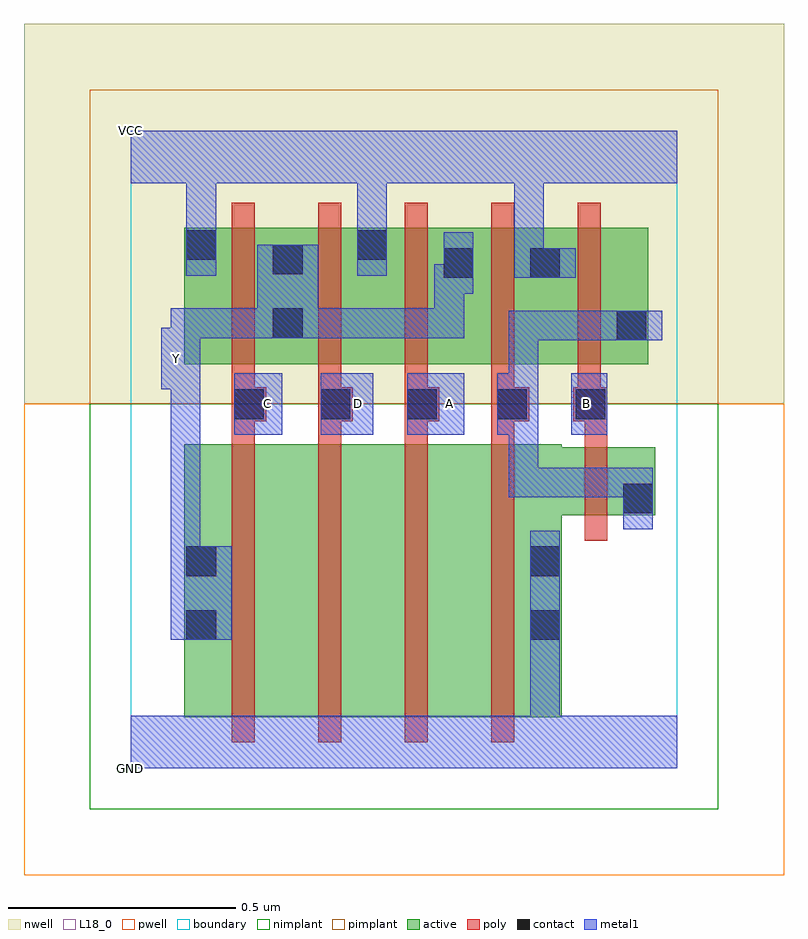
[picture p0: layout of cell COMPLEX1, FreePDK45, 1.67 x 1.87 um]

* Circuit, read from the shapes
.subckt COMPLEX1 A B C D GND VCC Y
M1 n1 C Y VSUBS nfet w=0.6u l=0.05u
M2 n2 D n1 VSUBS nfet w=0.6u l=0.05u
M3 n3 A n2 VSUBS nfet w=0.6u l=0.05u
M4 GND n4 n3 VSUBS nfet w=0.6u l=0.05u
M5 n4 B GND VSUBS nfet w=0.15u l=0.05u
M6 Y C VCC n5 pfet w=0.3u l=0.05u
M7 VCC D Y n5 pfet w=0.3u l=0.05u
M8 Y A VCC n5 pfet w=0.3u l=0.05u
M9 VCC n4 Y n5 pfet w=0.3u l=0.05u
M10 n4 B VCC n5 pfet w=0.3u l=0.05u
.ends

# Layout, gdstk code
import gdstk
lib = gdstk.Library(unit=1e-6, precision=1e-09)
def R(c, l, rs):  # rectangles x0, y0, x1, y1
    for r in rs: c.add(gdstk.rectangle(r[:2], r[2:], *l))
def A(c, l, x, y, w, h, nx, ny, dx, dy):  # array of equal rectangles
    R(c, l, [(x+i*dx, y+j*dy, x+i*dx+w, y+j*dy+h) for i in range(nx) for j in range(ny)])
active = (1, 0)
pwell = (2, 0)
nwell = (3, 0)
nimplant = (4, 0)
pimplant = (5, 0)
poly = (9, 0)
contact = (10, 0)
metal1 = (11, 0)
L18_0 = (18, 0)
boundary = (235, 0)

complex1 = lib.new_cell('COMPLEX1')
A(complex1, active, 0.492, 0.887, 0.265, 0.3, 3, 1, 0.19, 0)
R(complex1, active, [(0.117,0.112,0.342,0.712), (0.342,0.112,0.532,0.712), (0.532,0.112,0.722,0.712), (0.722,0.112,0.947,0.712), (0.872,0.112,0.947,0.697), (0.117,0.145,0.222,0.712), (0.872,0.555,1.152,0.705), (1.077,0.555,1.152,0.705), (0.117,0.887,0.382,1.187), (0.117,0.887,0.192,1.187), (0.307,0.887,0.567,1.187), (0.307,0.887,0.382,1.187), (0.682,0.887,0.757,1.167), (1.062,0.887,1.137,1.167), (0.492,1.005,0.567,1.187), (0.872,1.007,0.947,1.167)])
R(complex1, pwell, [(-0.235,-0.235,1.435,0.8)])
R(complex1, nwell, [(-0.235,0.8,1.435,1.635)])
R(complex1, nimplant, [(-0.09,-0.09,1.29,0.8)])
R(complex1, pimplant, [(-0.09,0.8,1.29,1.49)])
A(complex1, poly, 0.222, 0.057, 0.05, 0.71, 4, 1, 0.19, 0)
A(complex1, poly, 0.222, 0.717, 0.05, 0.095, 4, 1, 0.19, 0)
A(complex1, poly, 0.222, 0.762, 0.075, 0.075, 3, 1, 0.19, 0)
A(complex1, poly, 0.222, 0.787, 0.05, 0.095, 5, 1, 0.19, 0)
A(complex1, poly, 0.222, 0.832, 0.05, 0.41, 5, 1, 0.19, 0)
R(complex1, poly, [(0.997,0.5,1.047,0.76), (0.997,0.71,1.047,0.812), (0.792,0.762,0.875,0.837), (0.972,0.762,1.047,0.837)])
A(complex1, contact, 0.227, 0.767, 0.065, 0.065, 3, 1, 0.19, 0)
R(complex1, contact, [(0.122,0.282,0.187,0.347), (0.877,0.282,0.942,0.347), (0.122,0.422,0.187,0.487), (0.877,0.422,0.942,0.487), (1.082,0.56,1.147,0.625), (0.805,0.767,0.87,0.832), (0.977,0.767,1.042,0.832), (1.067,0.94,1.132,1.005), (0.312,0.945,0.377,1.01), (0.687,1.077,0.752,1.142), (0.877,1.077,0.942,1.142), (0.312,1.085,0.377,1.15), (0.122,1.117,0.187,1.182), (0.497,1.117,0.562,1.182)])
R(complex1, metal1, [(0,0,1.2,0.115), (0.877,0.05,0.942,0.312), (0.877,0.247,0.942,0.312), (0.877,0.247,0.942,0.312), (0.877,0.247,0.942,0.522), (0.087,0.282,0.222,0.487), (0.087,0.422,0.152,0.897), (1.082,0.525,1.147,0.66), (0.83,0.595,0.895,0.66), (0.83,0.595,1.147,0.66), (0.83,0.595,0.895,0.797), (1.082,0.595,1.147,0.66), (1.082,0.595,1.147,0.66), (0.227,0.732,0.332,0.867), (0.417,0.732,0.532,0.867), (0.607,0.732,0.732,0.867), (0.805,0.732,0.87,0.867), (0.805,0.732,0.895,0.797), (0.83,0.732,0.895,0.797), (0.83,0.732,0.895,1.005), (0.967,0.732,1.047,0.867), (0.067,0.832,0.152,0.967), (0.087,0.902,0.152,1.01), (0.83,0.94,0.895,1.005), (0.83,0.94,1.097,1.005), (1.032,0.94,1.097,1.005), (1.032,0.94,1.097,1.005), (1.032,0.94,1.167,1.005), (0.087,0.945,0.152,1.01), (0.087,0.945,0.152,1.01), (0.087,0.945,0.152,1.01), (0.087,0.945,0.342,1.01), (0.277,0.945,0.412,1.15), (0.347,0.945,0.412,1.01), (0.347,0.945,0.412,1.01), (0.347,0.945,0.55,1.01), (0.485,0.945,0.55,1.01), (0.485,0.945,0.732,1.01), (0.667,0.945,0.732,1.107), (0.667,1.042,0.752,1.107), (0.687,1.042,0.752,1.177), (0.842,1.077,0.977,1.142), (0.842,1.077,0.907,1.35), (0.122,1.082,0.187,1.217), (0.497,1.082,0.562,1.217), (0.122,1.152,0.187,1.35), (0.497,1.152,0.562,1.35), (0,1.285,1.2,1.4), (0.122,1.285,0.187,1.35), (0.122,1.285,0.187,1.35), (0.497,1.285,0.562,1.35), (0.497,1.285,0.562,1.35), (0.842,1.285,0.907,1.35), (0.842,1.285,0.907,1.35)])
A(complex1, L18_0, 0.267, 0.767, 0.065, 0.065, 3, 1, 0.2, 0)
R(complex1, L18_0, [(0,0,1.2,0.115), (0.877,0.05,0.942,0.312), (0.877,0.247,0.942,0.312), (0.877,0.247,0.942,0.312), (0.877,0.247,0.942,0.522), (0.087,0.282,0.222,0.487), (0.087,0.422,0.152,0.897), (0.227,0.732,0.332,0.867), (0.417,0.732,0.532,0.867), (0.607,0.732,0.732,0.867), (0.967,0.732,1.047,0.867), (0.967,0.767,1.032,0.832), (0.067,0.832,0.152,0.967), (0.067,0.867,0.132,0.932), (0.087,0.902,0.152,1.01), (0.087,0.945,0.152,1.01), (0.087,0.945,0.152,1.01), (0.087,0.945,0.152,1.01), (0.087,0.945,0.342,1.01), (0.277,0.945,0.412,1.15), (0.347,0.945,0.412,1.01), (0.347,0.945,0.412,1.01), (0.347,0.945,0.55,1.01), (0.485,0.945,0.55,1.01), (0.485,0.945,0.732,1.01), (0.667,0.945,0.732,1.107), (0.667,1.042,0.752,1.107), (0.687,1.042,0.752,1.177), (0.842,1.077,0.977,1.142), (0.842,1.077,0.907,1.35), (0.122,1.082,0.187,1.217), (0.497,1.082,0.562,1.217), (0.122,1.152,0.187,1.35), (0.497,1.152,0.562,1.35), (0,1.285,1.2,1.4), (0.122,1.285,0.187,1.35), (0.122,1.285,0.187,1.35), (0.497,1.285,0.562,1.35), (0.497,1.285,0.562,1.35), (0.842,1.285,0.907,1.35), (0.842,1.285,0.907,1.35)])
R(complex1, boundary, [(0,0,1.2,1.4)])
complex1.add(gdstk.Label('A', (0.7,0.8), layer=11, texttype=0))
complex1.add(gdstk.Label('B', (1,0.8), layer=11, texttype=0))
complex1.add(gdstk.Label('C', (0.3,0.8), layer=11, texttype=0))
complex1.add(gdstk.Label('D', (0.5,0.8), layer=11, texttype=0))
complex1.add(gdstk.Label('Y', (0.1,0.9), layer=11, texttype=0))
complex1.add(gdstk.Label('VCC', (0,1.4), layer=11, texttype=0))
complex1.add(gdstk.Label('GND', (0,0), layer=11, texttype=0))

lib.write_gds('COMPLEX1.gds')
